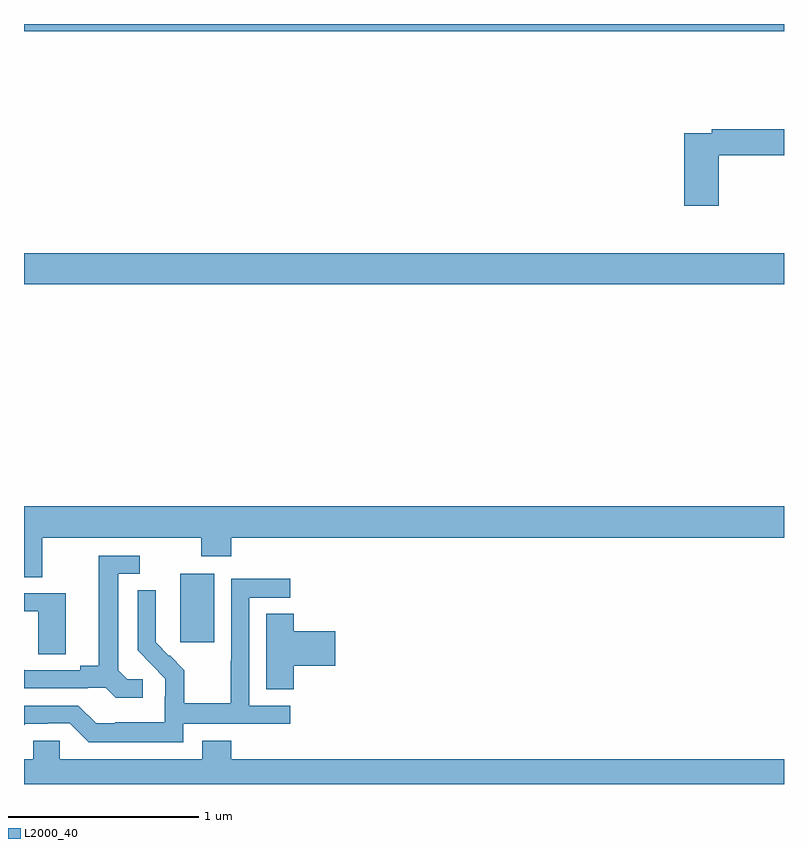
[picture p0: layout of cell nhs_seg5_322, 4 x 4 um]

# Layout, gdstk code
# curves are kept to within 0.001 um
import gdstk
lib = gdstk.Library(unit=1e-6, precision=1e-09)
def R(c, l, rs):  # rectangles x0, y0, x1, y1
    for r in rs: c.add(gdstk.rectangle(r[:2], r[2:], *l))
def P(c, l, *ps):  # polygons
    for p in ps: c.add(gdstk.Polygon(p, *l))
L2000_40 = (2000, 40)

nhs_seg5_322 = lib.new_cell('nhs_seg5_322')
R(nhs_seg5_322, L2000_40, [(131.822,853.545,132.001,853.906), (131,855.428,135,855.592), (131,856.76,135,856.799)])
P(nhs_seg5_322, L2000_40, [(134.657,856.108),(135,856.108),(135,856.244),(134.62,856.244),(134.62,856.224),(134.474,856.224),(134.474,855.843),(134.657,855.843)],
  [(131.095,854.096),(131.932,854.096),(131.932,853.997),(132.092,853.997),(132.092,854.096),(135,854.096),(135,854.26),(131,854.26),(131,853.888),(131.095,853.888)],
  [(131.626,853.35),(131.544,853.35),(131.497,853.397),(131.497,853.905),(131.608,853.905),(131.608,854.001),(131.393,854.001),(131.393,853.421),(131.297,853.421),(131.297,853.398),(131.002,853.398),(131,853.4),(131,853.302),(131.336,853.302),(131.336,853.305),(131.43,853.305),(131.482,853.253),(131.626,853.253)],
  [(131.838,853.116),(132.4,853.116),(132.4,853.212),(132.186,853.212),(132.186,853.779),(132.4,853.779),(132.4,853.878),(132.09,853.878),(132.09,853.448),(132.088,853.448),(132.088,853.225),(131.843,853.225),(131.843,853.399),(131.766,853.476),(131.763,853.473),(131.693,853.544),(131.694,853.82),(131.598,853.82),(131.598,853.502),(131.744,853.354),(131.744,853.257),(131.742,853.257),(131.742,853.123),(131.479,853.123),(131.479,853.119),(131.379,853.119),(131.286,853.212),(131,853.212),(131,853.109),(131.007,853.116),(131.126,853.116),(131.126,853.119),(131.241,853.119),(131.341,853.019),(131.838,853.019)],
  [(131.221,853.803),(131,853.803),(131,853.707),(131.076,853.707),(131.076,853.483),(131.221,853.483)],
  [(132.419,853.421),(132.637,853.421),(132.637,853.604),(132.419,853.604),(132.419,853.694),(132.275,853.694),(132.275,853.297),(132.419,853.297)],
  [(135,852.928),(132.092,852.928),(132.092,853.027),(131.939,853.027),(131.939,852.928),(131.187,852.928),(131.187,853.026),(131.049,853.026),(131.049,852.928),(131,852.928),(131,852.799),(135,852.799)])

lib.write_gds('nhs_seg5_322.gds')
